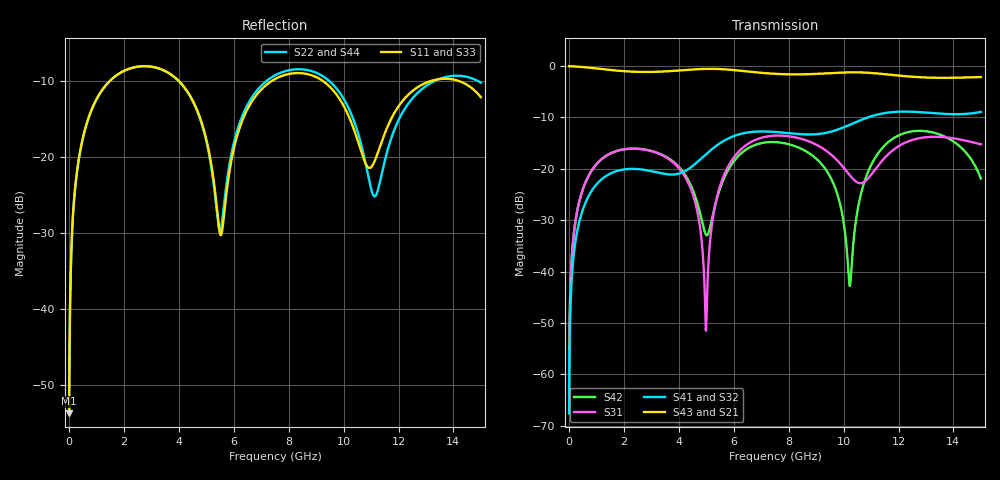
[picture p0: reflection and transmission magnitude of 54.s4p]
! Created with skrf 1.8.0 (http://scikit-rf.org).
# GHz S RI R 50.0
!freq ReS11 ImS11 ReS12 ImS12 ReS13 ImS13
! ReS14 ImS14
! ReS21 ImS21 ReS22 ImS22 ReS23 ImS23
! ReS24 ImS24
! ReS31 ImS31 ReS32 ImS32 ReS33 ImS33
! ReS34 ImS34
! ReS41 ImS41 ReS42 ImS42 ReS43 ImS43
! ReS44 ImS44
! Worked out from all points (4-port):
!   2499 points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, 5 MHz to 15 GHz, reference 50 ohm
!   strongest paths, dB at 5 MHz, 3.476 GHz, 7.19 GHz, 11.1 GHz, 15 GHz:
!     S43: 0.0, -1.0, -1.4, -1.4, -2.1
!     S21: 0.0, -1.0, -1.4, -1.4, -2.2
!     S41: -67.6, -21.0, -12.7, -9.6, -8.9
!     S32: -67.6, -21.1, -12.8, -9.6, -9.0
!     S31: -63.6, -17.6, -13.7, -20.5, -15.2
!     S42: -63.6, -17.5, -14.8, -18.3, -21.9
!   lowest |S11| = -53.8 dB at 5 MHz (marker M1), VSWR 1.00, Z = 50.2 + j0.124 ohm
!   |S11| at or under -10 dB: start of sweep to 1.503 GHz; 3.984 GHz to 7.41 GHz (3.426 GHz wide, 60.1 % of centre); 9.222 GHz to 13.24 GHz (4.013 GHz wide, 35.7 % of centre) (the widest 3 of 4)
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0.005  0.00163 0.00124  0.9983 -0.00317  8.21e-05 0.000656  -7.97e-05 -0.000409
       0.9983 -0.00317  0.00163 0.00124  -7.97e-05 -0.000409  8.21e-05 0.000656
       8.21e-05 0.000656  -7.97e-05 -0.000409  0.00163 0.00124  0.9983 -0.00317
       -7.97e-05 -0.000409  8.21e-05 0.000656  0.9983 -0.00317  0.00163 0.00124
1.569404  0.2714 0.1778  0.5467 -0.7312  0.1292 0.0625  -0.0913 -0.00569
          0.5467 -0.7312  0.2712 0.1779  -0.0912 -0.00588  0.1301 0.0612
          0.1292 0.0625  -0.0912 -0.00588  0.2714 0.1777  0.5467 -0.7312
          -0.0913 -0.00569  0.1301 0.0612  0.5467 -0.7312  0.271 0.1779
4.989579  0.064 -0.1159  -0.8708 -0.3519  0.00261 0.000486  -0.0465 0.1308
          -0.8708 -0.3519  0.0643 -0.1118  -0.0492 0.1297  -0.0211 -0.00876
          0.00261 0.000486  -0.0492 0.1297  0.0629 -0.1164  -0.8708 -0.3521
          -0.0465 0.1308  -0.0211 -0.00876  -0.8708 -0.3521  0.0654 -0.1114
8.597332  0.3493 -0.0343  0.0215 0.831  0.1427 -0.1267  0.2035 -0.0735
          0.0215 0.831  0.3685 -0.0565  0.2037 -0.0664  0.1422 -0.0479
          0.1427 -0.1267  0.2037 -0.0664  0.3477 -0.0357  0.0211 0.8321
          0.2035 -0.0735  0.1422 -0.0479  0.0211 0.8321  0.3649 -0.055
10.22301  0.1367 -0.1135  0.6929 0.5229  -0.0612 -0.0616  0.1501 -0.2226
          0.6929 0.5229  0.1284 -0.1544  0.1591 -0.2159  0.00711 0.00151
          -0.0612 -0.0616  0.1591 -0.2159  0.1309 -0.1131  0.6937 0.5231
          0.1501 -0.2226  0.00711 0.00151  0.6937 0.5231  0.1286 -0.1496
11.71113  0.144 0.0969  0.8017 -0.1867  0.0623 0.1313  -0.1189 -0.3347
          0.8017 -0.1867  0.0976 0.0827  -0.1057 -0.3388  0.1314 0.1367
          0.0623 0.1313  -0.1057 -0.3388  0.1412 0.1027  0.8017 -0.1863
          -0.1189 -0.3347  0.1314 0.1367  0.8017 -0.1863  0.0998 0.082
15  0.2194 -0.1101  -0.3079 -0.7165  -0.0257 -0.1715  -0.3104 0.1787
    -0.3079 -0.7165  0.2833 -0.1165  -0.3186 0.1594  0.0564 -0.0575
    -0.0257 -0.1715  -0.3186 0.1594  0.2112 -0.1133  -0.308 -0.7187
    -0.3104 0.1787  0.0564 -0.0575  -0.308 -0.7187  0.2774 -0.1092
